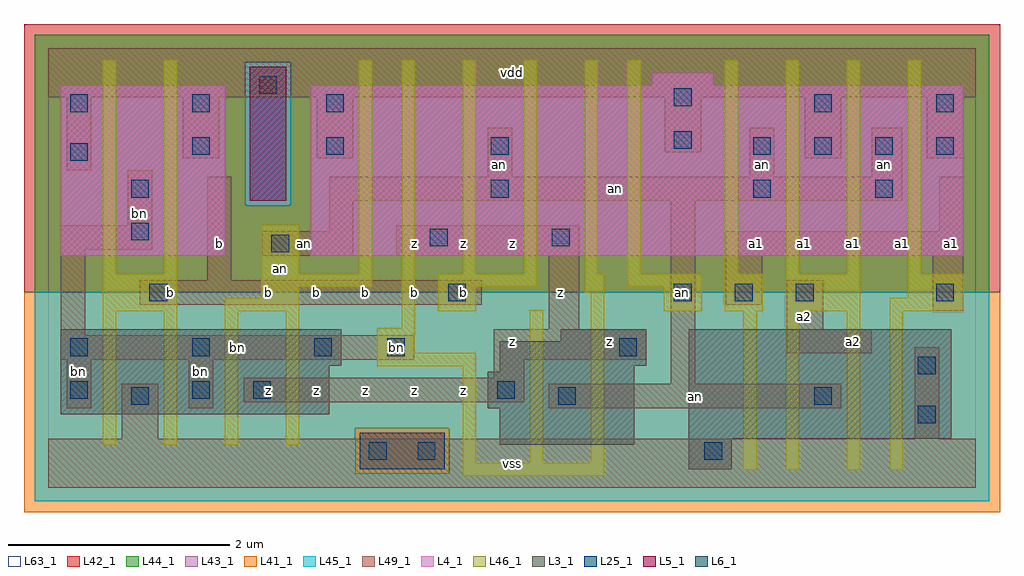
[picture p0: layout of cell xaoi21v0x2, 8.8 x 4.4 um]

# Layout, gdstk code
import gdstk
lib = gdstk.Library(unit=1e-6, precision=1e-09)
def R(c, l, rs):  # rectangles x0, y0, x1, y1
    for r in rs: c.add(gdstk.rectangle(r[:2], r[2:], *l))
def A(c, l, x, y, w, h, nx, ny, dx, dy):  # array of equal rectangles
    R(c, l, [(x+i*dx, y+j*dy, x+i*dx+w, y+j*dy+h) for i in range(nx) for j in range(ny)])
L3_1 = (3, 1)
L4_1 = (4, 1)
L5_1 = (5, 1)
L6_1 = (6, 1)
L25_1 = (25, 1)
L41_1 = (41, 1)
L42_1 = (42, 1)
L43_1 = (43, 1)
L44_1 = (44, 1)
L45_1 = (45, 1)
L46_1 = (46, 1)
L49_1 = (49, 1)
L63_1 = (63, 1)

xaoi21v0x2 = lib.new_cell('xaoi21v0x2')
R(xaoi21v0x2, L3_1, [(5.775,0.165,6.16,0.44), (4.07,0.385,5.28,0.715), (5.775,0.44,8.14,1.43), (0.11,0.66,2.53,1.1), (3.96,0.715,5.28,1.045), (4.07,1.045,5.28,1.1), (0.11,1.1,2.64,1.43), (4.07,1.1,5.39,1.32), (4.62,1.32,5.39,1.43)])
R(xaoi21v0x2, L4_1, [(0.11,2.09,1.595,3.63), (2.365,2.09,8.25,3.63), (5.445,3.63,5.995,3.74)])
R(xaoi21v0x2, L5_1, [(1.815,2.585,2.145,3.795)])
R(xaoi21v0x2, L6_1, [(2.805,0.165,3.575,0.495)])
A(xaoi21v0x2, L25_1, 0.195, 1.185, 0.16, 0.16, 3, 1, 1.1, 0)
A(xaoi21v0x2, L25_1, 5.64, 1.68, 0.16, 0.16, 3, 1, 0.55, 0)
A(xaoi21v0x2, L25_1, 6.355, 3, 0.16, 0.16, 4, 1, 0.55, 0)
R(xaoi21v0x2, L25_1, [(2.89,0.25,3.05,0.41), (3.33,0.25,3.49,0.41), (5.915,0.25,6.075,0.41), (7.84,0.58,8,0.74), (0.745,0.745,0.905,0.905), (4.595,0.745,4.755,0.905), (6.905,0.745,7.065,0.905), (0.195,0.8,0.355,0.96), (1.295,0.8,1.455,0.96), (1.845,0.8,2.005,0.96), (4.045,0.8,4.205,0.96), (7.84,1.02,8,1.18), (3.055,1.185,3.215,1.345), (5.145,1.185,5.305,1.345), (0.91,1.68,1.07,1.84), (3.605,1.68,3.765,1.84), (8.005,1.68,8.165,1.84), (2.01,2.12,2.17,2.28), (3.44,2.175,3.6,2.335), (4.54,2.175,4.7,2.335), (0.745,2.23,0.905,2.39), (0.745,2.615,0.905,2.775), (3.99,2.615,4.15,2.775), (6.355,2.615,6.515,2.775), (7.455,2.615,7.615,2.775), (0.195,2.945,0.355,3.105), (1.295,3,1.455,3.16), (2.505,3,2.665,3.16), (3.99,3,4.15,3.16), (5.64,3.055,5.8,3.215), (0.195,3.385,0.355,3.545), (1.295,3.385,1.455,3.545), (2.505,3.385,2.665,3.545), (6.905,3.385,7.065,3.545), (8.005,3.385,8.165,3.545), (5.64,3.44,5.8,3.6), (1.9,3.55,2.06,3.71)])
R(xaoi21v0x2, L41_1, [(-0.22,-0.22,8.58,1.76)])
R(xaoi21v0x2, L42_1, [(-0.22,1.76,8.58,4.18)])
R(xaoi21v0x2, L43_1, [(2.805,0.165,3.575,0.495), (5.775,0.165,6.16,0.44), (4.07,0.385,5.28,0.715), (5.775,0.44,8.14,1.43), (0.11,0.66,2.53,1.1), (3.96,0.715,5.28,1.045), (4.07,1.045,5.28,1.1), (0.11,1.1,2.64,1.43), (4.07,1.1,5.39,1.32), (4.62,1.32,5.39,1.43), (0.11,2.09,1.595,3.63), (2.365,2.09,8.25,3.63), (1.815,2.585,2.145,3.795), (5.445,3.63,5.995,3.74)])
R(xaoi21v0x2, L44_1, [(2.765,0.125,3.615,0.535), (-0.125,1.76,8.485,2.545), (-0.125,2.545,1.775,3.835), (2.185,2.545,8.485,3.835), (-0.125,3.835,8.485,4.085)])
R(xaoi21v0x2, L45_1, [(-0.125,-0.125,8.485,0.125), (-0.125,0.125,2.765,0.535), (3.615,0.125,8.485,0.535), (-0.125,0.535,8.485,1.76), (1.775,2.545,2.185,3.835)])
A(xaoi21v0x2, L46_1, 0.49, 0.38, 0.12, 1.21, 4, 1, 0.55, 0)
A(xaoi21v0x2, L46_1, 3.735, 1.93, 0.12, 1.925, 3, 1, 0.55, 0)
A(xaoi21v0x2, L46_1, 6.1, 1.93, 0.12, 1.925, 4, 1, 0.55, 0)
R(xaoi21v0x2, L46_1, [(3.735,0.105,5.01,0.225), (6.265,0.16,6.385,1.59), (6.65,0.16,6.77,1.59), (7.2,0.16,7.32,1.59), (7.585,0.16,7.705,1.59), (3.735,0.225,3.855,1.095), (4.34,0.225,4.46,1.6), (4.89,0.225,5.01,1.755), (2.965,1.095,3.855,1.215), (2.965,1.215,3.305,1.435), (3.185,1.435,3.305,3.855), (0.49,1.59,1.16,1.93), (1.59,1.59,2.26,1.71), (3.515,1.59,3.855,1.81), (5.55,1.59,5.89,1.81), (6.1,1.59,6.44,1.93), (6.65,1.59,7.32,1.93), (7.585,1.59,8.255,1.71), (1.92,1.71,2.26,1.81), (7.75,1.71,8.255,1.93), (4.835,1.755,5.01,1.93), (1.92,1.81,2.92,1.93), (3.515,1.81,4.405,1.93), (5.22,1.81,5.89,1.93), (0.49,1.93,0.61,3.855), (1.04,1.93,1.16,3.855), (1.92,1.93,2.26,2.37), (2.8,1.93,2.92,3.855), (5.22,1.93,5.34,3.855)])
R(xaoi21v0x2, L49_1, [(0,0,8.36,0.44), (0.66,0.44,0.99,0.935), (7.81,0.44,8.03,1.265), (0.165,0.715,0.385,1.155), (1.265,0.715,1.485,1.155), (4.51,0.715,7.15,0.935), (1.76,0.77,4.29,0.99), (5.61,0.935,5.83,2.585), (4.015,0.99,4.29,1.155), (0.11,1.155,3.3,1.375), (4.015,1.155,5.39,1.43), (6.655,1.21,7.425,1.43), (0.11,1.375,0.33,2.145), (4.51,1.43,4.785,2.09), (6.655,1.43,6.985,1.87), (7.975,1.595,8.25,2.09), (0.825,1.65,3.905,1.87), (6.105,1.65,6.435,2.09), (1.43,1.87,1.65,2.805), (1.925,2.09,2.75,2.31), (3.135,2.09,4.785,2.365), (6.105,2.09,8.25,2.31), (0.11,2.145,0.935,2.365), (2.53,2.31,2.75,2.585), (8.03,2.31,8.25,2.805), (0.715,2.365,0.935,2.86), (2.53,2.585,7.7,2.805), (3.96,2.805,4.18,3.245), (6.325,2.805,6.545,3.245), (7.425,2.805,7.7,3.245), (0.165,2.86,0.385,3.52), (1.21,2.97,1.54,3.52), (2.42,2.97,2.75,3.52), (6.82,2.97,7.15,3.52), (7.92,2.97,8.25,3.52), (5.555,3.025,5.885,3.52), (0,3.52,8.36,3.96)])
R(xaoi21v0x2, L63_1, [(0,0,8.36,3.96)])
xaoi21v0x2.add(gdstk.Label('an', (2.09,1.98), layer=46, texttype=1))
xaoi21v0x2.add(gdstk.Label('bn', (3.135,1.265), layer=49, texttype=1))
xaoi21v0x2.add(gdstk.Label('an', (5.72,1.76), layer=49, texttype=1))
xaoi21v0x2.add(gdstk.Label('bn', (1.375,1.045), layer=49, texttype=1))
xaoi21v0x2.add(gdstk.Label('bn', (0.275,1.045), layer=49, texttype=1))
xaoi21v0x2.add(gdstk.Label('b', (1.1,1.76), layer=49, texttype=1))
xaoi21v0x2.add(gdstk.Label('bn', (0.825,2.475), layer=49, texttype=1))
xaoi21v0x2.add(gdstk.Label('z', (1.98,0.88), layer=49, texttype=1))
xaoi21v0x2.add(gdstk.Label('z', (2.42,0.88), layer=49, texttype=1))
xaoi21v0x2.add(gdstk.Label('z', (2.86,0.88), layer=49, texttype=1))
xaoi21v0x2.add(gdstk.Label('b', (1.98,1.76), layer=49, texttype=1))
xaoi21v0x2.add(gdstk.Label('b', (2.42,1.76), layer=49, texttype=1))
xaoi21v0x2.add(gdstk.Label('b', (2.86,1.76), layer=49, texttype=1))
xaoi21v0x2.add(gdstk.Label('b', (1.54,2.2), layer=49, texttype=1))
xaoi21v0x2.add(gdstk.Label('an', (2.31,2.2), layer=49, texttype=1))
xaoi21v0x2.add(gdstk.Label('vss', (4.18,0.22), layer=49, texttype=1))
xaoi21v0x2.add(gdstk.Label('z', (3.74,0.88), layer=49, texttype=1))
xaoi21v0x2.add(gdstk.Label('z', (3.3,0.88), layer=49, texttype=1))
xaoi21v0x2.add(gdstk.Label('bn', (1.705,1.265), layer=49, texttype=1))
xaoi21v0x2.add(gdstk.Label('z', (4.18,1.32), layer=49, texttype=1))
xaoi21v0x2.add(gdstk.Label('b', (3.74,1.76), layer=49, texttype=1))
xaoi21v0x2.add(gdstk.Label('z', (4.62,1.76), layer=49, texttype=1))
xaoi21v0x2.add(gdstk.Label('b', (3.3,1.76), layer=49, texttype=1))
xaoi21v0x2.add(gdstk.Label('z', (3.3,2.2), layer=49, texttype=1))
xaoi21v0x2.add(gdstk.Label('z', (3.74,2.2), layer=49, texttype=1))
xaoi21v0x2.add(gdstk.Label('z', (4.18,2.2), layer=49, texttype=1))
xaoi21v0x2.add(gdstk.Label('an', (4.07,2.915), layer=49, texttype=1))
xaoi21v0x2.add(gdstk.Label('vdd', (4.18,3.74), layer=49, texttype=1))
xaoi21v0x2.add(gdstk.Label('z', (5.06,1.32), layer=49, texttype=1))
xaoi21v0x2.add(gdstk.Label('a1', (6.38,2.2), layer=49, texttype=1))
xaoi21v0x2.add(gdstk.Label('an', (5.72,1.76), layer=49, texttype=1))
xaoi21v0x2.add(gdstk.Label('an', (6.435,2.915), layer=49, texttype=1))
xaoi21v0x2.add(gdstk.Label('an', (5.83,0.825), layer=49, texttype=1))
xaoi21v0x2.add(gdstk.Label('a2', (7.26,1.32), layer=49, texttype=1))
xaoi21v0x2.add(gdstk.Label('a2', (6.82,1.54), layer=49, texttype=1))
xaoi21v0x2.add(gdstk.Label('a1', (6.82,2.2), layer=49, texttype=1))
xaoi21v0x2.add(gdstk.Label('a1', (8.14,2.2), layer=49, texttype=1))
xaoi21v0x2.add(gdstk.Label('a1', (7.26,2.2), layer=49, texttype=1))
xaoi21v0x2.add(gdstk.Label('a1', (7.7,2.2), layer=49, texttype=1))
xaoi21v0x2.add(gdstk.Label('an', (5.115,2.695), layer=49, texttype=1))
xaoi21v0x2.add(gdstk.Label('an', (7.535,2.915), layer=49, texttype=1))

lib.write_gds('xaoi21v0x2.gds')
